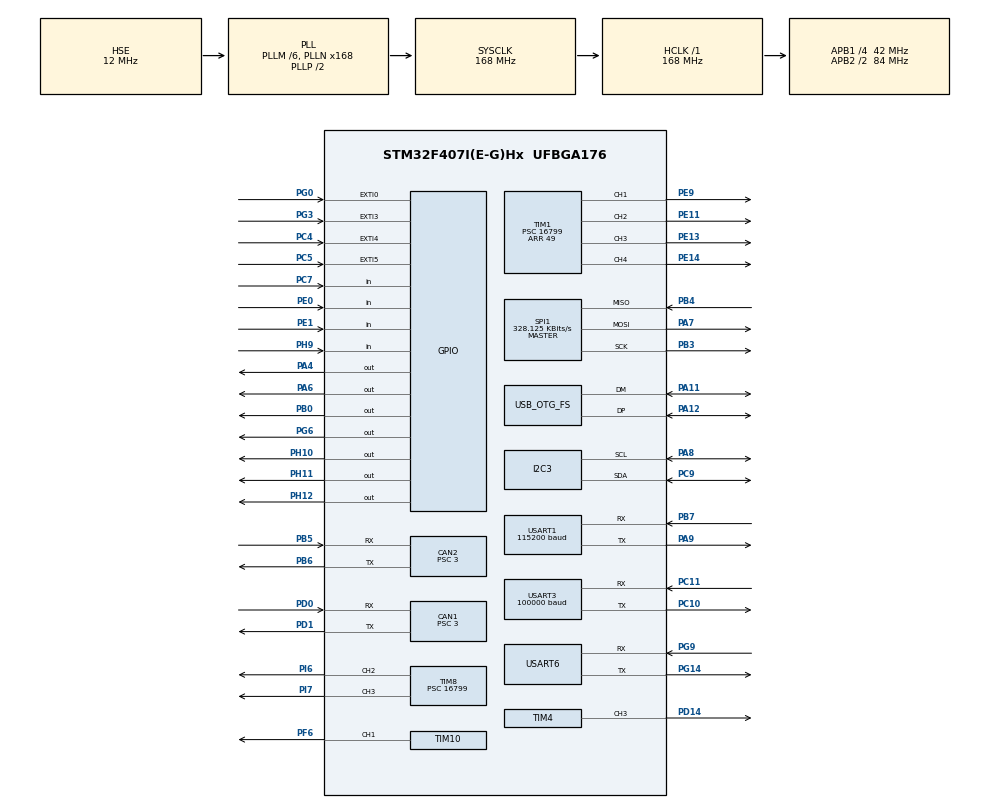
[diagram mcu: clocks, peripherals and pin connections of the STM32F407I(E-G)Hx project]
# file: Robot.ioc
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CAN1.BS1=CAN_BS1_10TQ
CAN1.BS2=CAN_BS2_3TQ
CAN1.CalculateBaudRate=1000000
CAN1.CalculateTimeBit=1000
CAN1.CalculateTimeQuantum=71.42857142857143
CAN1.Prescaler=3
CAN1.SJW=CAN_SJW_1TQ
CAN2.BS1=CAN_BS1_10TQ
CAN2.BS2=CAN_BS2_3TQ
CAN2.CalculateBaudRate=1000000
CAN2.CalculateTimeBit=1000
CAN2.CalculateTimeQuantum=71.42857142857143
CAN2.Prescaler=3
Dma.Request0=SPI1_RX
Dma.Request1=SPI1_TX
Dma.Request2=USART3_RX
Dma.Request3=USART6_RX
Dma.Request4=USART6_TX
Dma.Request5=USART1_TX
Dma.Request6=USART1_RX
Dma.SPI1_RX.0.Direction=DMA_PERIPH_TO_MEMORY
Dma.SPI1_RX.0.FIFOMode=DMA_FIFOMODE_DISABLE
Dma.SPI1_RX.0.Instance=DMA2_Stream2
Dma.SPI1_RX.0.MemDataAlignment=DMA_MDATAALIGN_BYTE
Dma.SPI1_RX.0.MemInc=DMA_MINC_ENABLE
Dma.SPI1_RX.0.Mode=DMA_NORMAL
Dma.SPI1_RX.0.PeriphDataAlignment=DMA_PDATAALIGN_BYTE
Dma.SPI1_RX.0.PeriphInc=DMA_PINC_DISABLE
Dma.SPI1_RX.0.Priority=DMA_PRIORITY_VERY_HIGH
Dma.SPI1_TX.1.Direction=DMA_MEMORY_TO_PERIPH
Dma.SPI1_TX.1.FIFOMode=DMA_FIFOMODE_DISABLE
Dma.SPI1_TX.1.Instance=DMA2_Stream3
Dma.SPI1_TX.1.MemDataAlignment=DMA_MDATAALIGN_BYTE
Dma.SPI1_TX.1.MemInc=DMA_MINC_ENABLE
Dma.SPI1_TX.1.Mode=DMA_NORMAL
Dma.SPI1_TX.1.PeriphDataAlignment=DMA_PDATAALIGN_BYTE
Dma.SPI1_TX.1.PeriphInc=DMA_PINC_DISABLE
Dma.SPI1_TX.1.Priority=DMA_PRIORITY_HIGH
Dma.USART1_RX.6.Direction=DMA_PERIPH_TO_MEMORY
Dma.USART1_RX.6.FIFOMode=DMA_FIFOMODE_DISABLE
Dma.USART1_RX.6.Instance=DMA2_Stream5
Dma.USART1_RX.6.MemDataAlignment=DMA_MDATAALIGN_BYTE
Dma.USART1_RX.6.MemInc=DMA_MINC_ENABLE
Dma.USART1_RX.6.Mode=DMA_NORMAL
Dma.USART1_RX.6.PeriphDataAlignment=DMA_PDATAALIGN_BYTE
Dma.USART1_RX.6.PeriphInc=DMA_PINC_DISABLE
Dma.USART1_RX.6.Priority=DMA_PRIORITY_HIGH
Dma.USART1_TX.5.Direction=DMA_MEMORY_TO_PERIPH
Dma.USART1_TX.5.FIFOMode=DMA_FIFOMODE_DISABLE
Dma.USART1_TX.5.Instance=DMA2_Stream7
Dma.USART1_TX.5.MemDataAlignment=DMA_MDATAALIGN_BYTE
Dma.USART1_TX.5.MemInc=DMA_MINC_ENABLE
Dma.USART1_TX.5.Mode=DMA_NORMAL
Dma.USART1_TX.5.PeriphDataAlignment=DMA_PDATAALIGN_BYTE
Dma.USART1_TX.5.PeriphInc=DMA_PINC_DISABLE
Dma.USART1_TX.5.Priority=DMA_PRIORITY_VERY_HIGH
Dma.USART3_RX.2.Direction=DMA_PERIPH_TO_MEMORY
Dma.USART3_RX.2.FIFOMode=DMA_FIFOMODE_DISABLE
Dma.USART3_RX.2.Instance=DMA1_Stream1
Dma.USART3_RX.2.MemDataAlignment=DMA_MDATAALIGN_BYTE
Dma.USART3_RX.2.MemInc=DMA_MINC_ENABLE
Dma.USART3_RX.2.Mode=DMA_NORMAL
Dma.USART3_RX.2.PeriphDataAlignment=DMA_PDATAALIGN_BYTE
Dma.USART3_RX.2.PeriphInc=DMA_PINC_DISABLE
Dma.USART3_RX.2.Priority=DMA_PRIORITY_LOW
Dma.USART6_RX.3.Direction=DMA_PERIPH_TO_MEMORY
Dma.USART6_RX.3.FIFOMode=DMA_FIFOMODE_DISABLE
Dma.USART6_RX.3.Instance=DMA2_Stream1
Dma.USART6_RX.3.MemDataAlignment=DMA_MDATAALIGN_BYTE
Dma.USART6_RX.3.MemInc=DMA_MINC_ENABLE
Dma.USART6_RX.3.Mode=DMA_NORMAL
Dma.USART6_RX.3.PeriphDataAlignment=DMA_PDATAALIGN_BYTE
Dma.USART6_RX.3.PeriphInc=DMA_PINC_DISABLE
Dma.USART6_RX.3.Priority=DMA_PRIORITY_HIGH
Dma.USART6_TX.4.Direction=DMA_MEMORY_TO_PERIPH
Dma.USART6_TX.4.FIFOMode=DMA_FIFOMODE_DISABLE
Dma.USART6_TX.4.Instance=DMA2_Stream6
Dma.USART6_TX.4.MemDataAlignment=DMA_MDATAALIGN_BYTE
Dma.USART6_TX.4.MemInc=DMA_MINC_ENABLE
Dma.USART6_TX.4.Mode=DMA_NORMAL
Dma.USART6_TX.4.PeriphDataAlignment=DMA_PDATAALIGN_BYTE
Dma.USART6_TX.4.PeriphInc=DMA_PINC_DISABLE
Dma.USART6_TX.4.Priority=DMA_PRIORITY_VERY_HIGH
FREERTOS.INCLUDE_eTaskGetState=1
FREERTOS.INCLUDE_pcTaskGetTaskName=1
FREERTOS.INCLUDE_uxTaskGetStackHighWaterMark=1
FREERTOS.INCLUDE_vTaskCleanUpResources=1
FREERTOS.INCLUDE_vTaskDelayUntil=1
FREERTOS.INCLUDE_xEventGroupSetBitFromISR=1
FREERTOS.INCLUDE_xQueueGetMutexHolder=1
FREERTOS.INCLUDE_xSemaphoreGetMutexHolder=1
FREERTOS.INCLUDE_xTaskAbortDelay=1
FREERTOS.INCLUDE_xTaskGetCurrentTaskHandle=1
FREERTOS.INCLUDE_xTaskGetHandle=1
FREERTOS.INCLUDE_xTimerPendFunctionCall=1
FREERTOS.Tasks01=INS_TASK,3,2560,INS_Task,As weak,NULL,Dynamic,NULL,NULL;LED_TASK,0,128,LED_Task,As weak,NULL,Dynamic,NULL,NULL;Chassis_TASK,1,512,Chassis_Task,As weak,NULL,Dynamic,NULL,NULL;Gimbal_TASK,2,512,Gimbal_Task,As weak,NULL,Dynamic,NULL,NULL;Shoot_TASK,0,512,Shoot_Task,As weak,NULL,Dynamic,NULL,NULL;referee_usart,1,256,referee_usart_task,As weak,NULL,Dynamic,NULL,NULL;Detect_Task,1,256,detect_task,As weak,NULL,Dynamic,NULL,NULL
FREERTOS.configTOTAL_HEAP_SIZE=24576
FREERTOS.configUSE_TIMERS=1
I2C3.I2C_Mode=I2C_Fast
Mcu.Family=STM32F4
Mcu.Name=STM32F407I(E-G)Hx
Mcu.Package=UFBGA176
NVIC.CAN1_RX0_IRQn=true\:5\:0\:false\:false\:true\:true\:true\:true\:true
NVIC.CAN1_TX_IRQn=true\:5\:0\:false\:false\:true\:true\:true\:true\:true
NVIC.CAN2_RX0_IRQn=true\:5\:0\:false\:false\:true\:true\:true\:true\:true
NVIC.DMA1_Stream1_IRQn=true\:5\:0\:false\:false\:true\:true\:false\:true\:true
NVIC.DMA2_Stream1_IRQn=true\:5\:0\:false\:false\:true\:true\:false\:true\:true
NVIC.DMA2_Stream2_IRQn=true\:5\:0\:false\:false\:true\:true\:false\:true\:true
NVIC.DMA2_Stream3_IRQn=true\:5\:0\:false\:false\:true\:true\:false\:true\:true
NVIC.DMA2_Stream5_IRQn=true\:5\:0\:false\:false\:true\:true\:false\:true\:true
NVIC.DMA2_Stream6_IRQn=true\:5\:0\:false\:false\:true\:true\:false\:true\:true
NVIC.DMA2_Stream7_IRQn=true\:5\:0\:false\:false\:true\:true\:false\:true\:true
NVIC.EXTI0_IRQn=true\:5\:0\:false\:false\:true\:true\:true\:true\:true
NVIC.EXTI3_IRQn=true\:5\:0\:false\:false\:true\:true\:true\:true\:true
NVIC.EXTI4_IRQn=true\:5\:0\:false\:false\:true\:true\:true\:true\:true
NVIC.EXTI9_5_IRQn=true\:5\:0\:false\:false\:true\:true\:true\:true\:true
NVIC.OTG_FS_IRQn=true\:5\:0\:false\:false\:true\:true\:false\:true\:true
NVIC.PriorityGroup=NVIC_PRIORITYGROUP_4
NVIC.TIM1_UP_TIM10_IRQn=true\:7\:0\:true\:false\:true\:true\:true\:true\:true
NVIC.TIM2_IRQn=true\:15\:0\:false\:false\:true\:false\:false\:true\:true
NVIC.TIM3_IRQn=true\:5\:0\:false\:false\:true\:true\:true\:true\:true
NVIC.TIM5_IRQn=true\:5\:0\:false\:false\:true\:true\:true\:true\:true
NVIC.TIM8_TRG_COM_TIM14_IRQn=true\:5\:0\:false\:false\:true\:true\:true\:true\:true
NVIC.TIM8_UP_TIM13_IRQn=true\:6\:0\:true\:false\:true\:true\:true\:true\:true
NVIC.TimeBase=TIM2_IRQn
NVIC.TimeBaseIP=TIM2
NVIC.USART1_IRQn=true\:5\:0\:false\:false\:true\:true\:true\:true\:true
NVIC.USART3_IRQn=true\:5\:0\:false\:false\:true\:true\:true\:true\:true
NVIC.USART6_IRQn=true\:5\:0\:false\:false\:true\:true\:true\:true\:true
PA11.Mode=Device_Only
PA11.Signal=USB_OTG_FS_DM
PA12.Mode=Device_Only
PA12.Signal=USB_OTG_FS_DP
PA13.Mode=Serial_Wire
PA13.Signal=SYS_JTMS-SWDIO
PA14.Mode=Serial_Wire
PA14.Signal=SYS_JTCK-SWCLK
PA4.GPIO_PuPd=GPIO_PULLUP
PA4.GPIO_Speed=GPIO_SPEED_FREQ_HIGH
PA4.PinState=GPIO_PIN_SET
PA4.Signal=GPIO_Output
PA6.GPIO_ModeDefaultOutputPP=GPIO_MODE_OUTPUT_OD
PA6.GPIO_PuPd=GPIO_NOPULL
PA6.Signal=GPIO_Output
PA7.GPIO_Mode=GPIO_MODE_AF_PP
PA7.GPIO_PuPd=GPIO_PULLUP
PA7.GPIO_Speed=GPIO_SPEED_FREQ_VERY_HIGH
PA7.Mode=Full_Duplex_Master
PA7.Signal=SPI1_MOSI
PA8.GPIO_Mode=GPIO_MODE_AF_OD
PA8.GPIO_Pu=GPIO_PULLUP
PA8.GPIO_Speed=GPIO_SPEED_FREQ_VERY_HIGH
PA8.Mode=I2C
PA8.Signal=I2C3_SCL
PA9.Mode=Asynchronous
PA9.Signal=USART1_TX
PB0.GPIO_ModeDefaultOutputPP=GPIO_MODE_OUTPUT_PP
PB0.GPIO_PuPd=GPIO_PULLUP
PB0.GPIO_Speed=GPIO_SPEED_FREQ_HIGH
PB0.PinState=GPIO_PIN_SET
PB0.Signal=GPIO_Output
PB14.GPIO_ModeDefaultPP=GPIO_MODE_AF_PP
PB14.GPIO_PuPd=GPIO_PULLUP
PB14.GPIO_Speed=GPIO_SPEED_FREQ_VERY_HIGH
PB14.Signal=S_TIM12_CH1
PB15.GPIO_ModeDefaultPP=GPIO_MODE_AF_PP
PB15.GPIO_PuPd=GPIO_PULLUP
PB15.GPIO_Speed=GPIO_SPEED_FREQ_VERY_HIGH
PB15.Signal=S_TIM12_CH2
PB3.GPIO_Mode=GPIO_MODE_AF_PP
PB3.GPIO_PuPd=GPIO_PULLUP
PB3.GPIO_Speed=GPIO_SPEED_FREQ_VERY_HIGH
PB3.Mode=Full_Duplex_Master
PB3.Signal=SPI1_SCK
PB4.GPIO_Mode=GPIO_MODE_AF_PP
PB4.GPIO_PuPd=GPIO_PULLUP
PB4.GPIO_Speed=GPIO_SPEED_FREQ_VERY_HIGH
PB4.Mode=Full_Duplex_Master
PB4.Signal=SPI1_MISO
PB5.Mode=CAN_Activate
PB5.Signal=CAN2_RX
PB6.Mode=CAN_Activate
PB6.Signal=CAN2_TX
PB7.Mode=Asynchronous
PB7.Signal=USART1_RX
PC10.GPIO_ModeDefaultPP=GPIO_MODE_AF_PP
PC10.GPIO_PuPd=GPIO_PULLUP
PC10.GPIO_Speed=GPIO_SPEED_FREQ_VERY_HIGH
PC10.Mode=Asynchronous
PC10.Signal=USART3_TX
PC11.GPIO_ModeDefaultPP=GPIO_MODE_AF_PP
PC11.GPIO_PuPd=GPIO_PULLUP
PC11.GPIO_Speed=GPIO_SPEED_FREQ_VERY_HIGH
PC11.Mode=Asynchronous
PC11.Signal=USART3_RX
PC4.GPIO_ModeDefaultEXTI=GPIO_MODE_IT_FALLING
PC4.GPIO_PuPd=GPIO_PULLUP
PC4.Signal=GPXTI4
PC5.GPIO_ModeDefaultEXTI=GPIO_MODE_IT_FALLING
PC5.GPIO_PuPd=GPIO_PULLUP
PC5.Signal=GPXTI5
PC7.GPIO_PuPd=GPIO_PULLDOWN
PC7.Signal=GPIO_Input
PC8.GPIO_ModeDefaultPP=GPIO_MODE_AF_PP
PC8.GPIO_PuPd=GPIO_PULLUP
PC8.GPIO_Speed=GPIO_SPEED_FREQ_VERY_HIGH
PC8.Signal=S_TIM3_CH3
PC9.GPIO_Mode=GPIO_MODE_AF_OD
PC9.GPIO_Pu=GPIO_PULLUP
PC9.GPIO_Speed=GPIO_SPEED_FREQ_VERY_HIGH
PC9.Mode=I2C
PC9.Signal=I2C3_SDA
PD0.Mode=CAN_Activate
PD0.Signal=CAN1_RX
PD1.Mode=CAN_Activate
PD1.Signal=CAN1_TX
PD14.GPIO_PuPd=GPIO_PULLUP
PD14.GPIO_Speed=GPIO_SPEED_FREQ_VERY_HIGH
PD14.Signal=S_TIM4_CH3
PE0.GPIO_PuPd=GPIO_PULLDOWN
PE0.Signal=GPIO_Input
PE1.GPIO_PuPd=GPIO_PULLDOWN
PE1.Signal=GPIO_Input
PE11.GPIO_ModeDefaultPP=GPIO_MODE_AF_PP
PE11.GPIO_PuPd=GPIO_PULLUP
PE11.GPIO_Speed=GPIO_SPEED_FREQ_VERY_HIGH
PE11.Signal=S_TIM1_CH2
PE13.GPIO_PuPd=GPIO_PULLUP
PE13.GPIO_Speed=GPIO_SPEED_FREQ_VERY_HIGH
PE13.Signal=S_TIM1_CH3
PE14.Signal=S_TIM1_CH4
PE9.GPIO_ModeDefaultPP=GPIO_MODE_AF_PP
PE9.GPIO_PuPd=GPIO_PULLUP
PE9.GPIO_Speed=GPIO_SPEED_FREQ_VERY_HIGH
PE9.Signal=S_TIM1_CH1
PF6.GPIO_PuPd=GPIO_PULLUP
PF6.GPIO_Speed=GPIO_SPEED_FREQ_VERY_HIGH
PF6.Signal=S_TIM10_CH1
PG0.GPIO_ModeDefaultEXTI=GPIO_MODE_IT_FALLING
PG0.GPIO_PuPd=GPIO_PULLUP
PG0.Signal=GPXTI0
PG14.GPIO_ModeDefaultPP=GPIO_MODE_AF_PP
PG14.GPIO_PuPd=GPIO_PULLUP
PG14.GPIO_Speed=GPIO_SPEED_FREQ_VERY_HIGH
PG14.Mode=Asynchronous
PG14.Signal=USART6_TX
PG3.GPIO_ModeDefaultEXTI=GPIO_MODE_IT_FALLING
PG3.GPIO_PuPd=GPIO_PULLUP
PG3.Signal=GPXTI3
PG6.GPIO_ModeDefaultOutputPP=GPIO_MODE_OUTPUT_PP
PG6.GPIO_PuPd=GPIO_PULLUP
PG6.GPIO_Speed=GPIO_SPEED_FREQ_HIGH
PG6.PinState=GPIO_PIN_SET
PG6.Signal=GPIO_Output
PG9.GPIO_ModeDefaultPP=GPIO_MODE_AF_PP
PG9.GPIO_PuPd=GPIO_PULLUP
PG9.GPIO_Speed=GPIO_SPEED_FREQ_VERY_HIGH
PG9.Mode=Asynchronous
PG9.Signal=USART6_RX
PH0-OSC_IN.Mode=HSE-External-Oscillator
PH0-OSC_IN.Signal=RCC_OSC_IN
PH1-OSC_OUT.Mode=HSE-External-Oscillator
PH1-OSC_OUT.Signal=RCC_OSC_OUT
PH10.GPIO_ModeDefaultOutputPP=GPIO_MODE_OUTPUT_PP
PH10.GPIO_PuPd=GPIO_PULLDOWN
PH10.GPIO_Speed=GPIO_SPEED_FREQ_VERY_HIGH
PH10.PinState=GPIO_PIN_RESET
PH10.Signal=GPIO_Output
PH11.GPIO_ModeDefaultOutputPP=GPIO_MODE_OUTPUT_PP
PH11.GPIO_PuPd=GPIO_PULLDOWN
PH11.GPIO_Speed=GPIO_SPEED_FREQ_VERY_HIGH
PH11.PinState=GPIO_PIN_RESET
PH11.Signal=GPIO_Output
PH12.GPIO_ModeDefaultOutputPP=GPIO_MODE_OUTPUT_PP
PH12.GPIO_PuPd=GPIO_PULLDOWN
PH12.GPIO_Speed=GPIO_SPEED_FREQ_VERY_HIGH
PH12.PinState=GPIO_PIN_RESET
PH12.Signal=GPIO_Output
PH9.GPIO_PuPd=GPIO_PULLDOWN
PH9.Signal=GPIO_Input
PI6.Signal=S_TIM8_CH2
PI7.Signal=S_TIM8_CH3
ProjectManager.HeapSize=0x2000
ProjectManager.StackSize=0x2000
ProjectManager.TargetToolchain=MDK-ARM V5
RCC.48MHZClocksFreq_Value=48000000
RCC.AHBFreq_Value=168000000
RCC.APB1CLKDivider=RCC_HCLK_DIV4
RCC.APB1Freq_Value=42000000
RCC.APB1TimFreq_Value=84000000
RCC.APB2CLKDivider=RCC_HCLK_DIV2
RCC.APB2Freq_Value=84000000
RCC.APB2TimFreq_Value=168000000
RCC.CortexFreq_Value=168000000
RCC.HCLKFreq_Value=168000000
RCC.HSE_VALUE=12000000
RCC.HSI_VALUE=16000000
RCC.LSE_VALUE=32768
RCC.PLLM=6
RCC.PLLN=168
RCC.PLLQ=7
RCC.SYSCLKFreq_VALUE=168000000
RCC.SYSCLKSource=RCC_SYSCLKSOURCE_PLLCLK
RCC.VCOOutputFreq_Value=336000000
SH.S_TIM10_CH1.0=TIM10_CH1,PWM Generation1 CH1
SH.S_TIM12_CH1.0=TIM12_CH1
SH.S_TIM12_CH2.0=TIM12_CH2
SH.S_TIM1_CH1.0=TIM1_CH1,PWM Generation1 CH1
SH.S_TIM1_CH2.0=TIM1_CH2,PWM Generation2 CH2
SH.S_TIM1_CH3.0=TIM1_CH3,PWM Generation3 CH3
SH.S_TIM1_CH4.0=TIM1_CH4,PWM Generation4 CH4
SH.S_TIM3_CH3.0=TIM3_CH3
SH.S_TIM4_CH3.0=TIM4_CH3,PWM Generation3 CH3
SH.S_TIM8_CH2.0=TIM8_CH2,PWM Generation2 CH2
SH.S_TIM8_CH3.0=TIM8_CH3,PWM Generation3 CH3
SPI1.BaudRatePrescaler=SPI_BAUDRATEPRESCALER_256
SPI1.CLKPhase=SPI_PHASE_2EDGE
SPI1.CLKPolarity=SPI_POLARITY_HIGH
SPI1.CalculateBaudRate=328.125 KBits/s
SPI1.Direction=SPI_DIRECTION_2LINES
SPI1.Mode=SPI_MODE_MASTER
SPI1.VirtualType=VM_MASTER
TIM1.AutoReloadPreload=TIM_AUTORELOAD_PRELOAD_DISABLE
TIM1.Channel-PWM\ Generation1\ CH1=TIM_CHANNEL_1
TIM1.Channel-PWM\ Generation2\ CH2=TIM_CHANNEL_2
TIM1.Channel-PWM\ Generation3\ CH3=TIM_CHANNEL_3
TIM1.Channel-PWM\ Generation4\ CH4=TIM_CHANNEL_4
TIM1.Period=49
TIM1.Prescaler=16799
TIM10.Channel=TIM_CHANNEL_1
TIM10.Period=4999
TIM3.Period=99
TIM3.Prescaler=8399
TIM4.Channel-PWM\ Generation3\ CH3=TIM_CHANNEL_3
TIM4.Period=20999
TIM5.Period=19
TIM5.Prescaler=8399
TIM8.Channel-PWM\ Generation2\ CH2=TIM_CHANNEL_2
TIM8.Channel-PWM\ Generation3\ CH3=TIM_CHANNEL_3
TIM8.Period=499
TIM8.Prescaler=16799
USART1.BaudRate=115200
USART1.VirtualMode=VM_ASYNC
USART3.BaudRate=100000
USART3.VirtualMode=VM_ASYNC
USART6.VirtualMode=VM_ASYNC
USB_DEVICE.CLASS_NAME_FS=CDC
USB_DEVICE.VirtualMode-CDC_FS=Cdc
USB_DEVICE.VirtualModeFS=Cdc_FS
USB_OTG_FS.VirtualMode=Device_Only
VP_CRC_VS_CRC.Mode=CRC_Activate
VP_FREERTOS_VS_CMSIS_V1.Mode=CMSIS_V1
VP_SYS_VS_tim2.Mode=TIM2
VP_TIM10_VS_ClockSourceINT.Mode=Enable_Timer
VP_TIM1_VS_ClockSourceINT.Mode=Internal
VP_TIM3_VS_ClockSourceINT.Mode=Internal
VP_TIM4_VS_ClockSourceINT.Mode=Internal
VP_TIM5_VS_ClockSourceINT.Mode=Internal
VP_TIM8_VS_ClockSourceINT.Mode=Internal
VP_USB_DEVICE_VS_USB_DEVICE_CDC_FS.Mode=CDC_FS
board=custom

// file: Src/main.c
/* USER CODE BEGIN Header */
/**
 ******************************************************************************
 * @file           : main.c
 * @brief          : Main program body
 ******************************************************************************
 * @attention
 *
 * <h2><center>&copy; Copyright (c) 2021 STMicroelectronics.
 * All rights reserved.</center></h2>
 *
 * This software component is licensed by ST under Ultimate Liberty license
 * SLA0044, the "License"; You may not use this file except in compliance with
 * the License. You may obtain a copy of the License at:
 *                             www.st.com/SLA0044
 *
 ******************************************************************************
 */
/* USER CODE END Header */
#include "main.h"
#include "cmsis_os.h"
#include "can.h"
#include "crc.h"
#include "dma.h"
#include "i2c.h"
#include "spi.h"
#include "tim.h"
#include "usart.h"
#include "usb_device.h"
#include "gpio.h"

/* USER CODE BEGIN Includes */
#include "bsp_delay.h"
#include "remote_control.h"
#include "bsp_can.h"
#include "bsp_tim.h"
#include "bsp_buzzer.h"
#include "referee.h"
#include "referee_usart_task.h"
/* USER CODE END Includes */

void SystemClock_Config(void);
void MX_FREERTOS_Init(void);

int main(void)
{

  /* MCU Configuration--------------------------------------------------------*/

  /* Reset of all peripherals, Initializes the Flash interface and the Systick. */
  HAL_Init();

  /* Configure the system clock */
  SystemClock_Config();

  /* Initialize all configured peripherals */
  MX_GPIO_Init();
  MX_DMA_Init();
  MX_I2C3_Init();
  MX_SPI1_Init();
  MX_TIM10_Init();
  MX_USART3_UART_Init();
  MX_CAN1_Init();
  MX_CAN2_Init();
  MX_TIM3_Init();
  MX_USART6_UART_Init();
  MX_USART1_UART_Init();
  MX_TIM1_Init();
  MX_CRC_Init();
  MX_TIM8_Init();
  MX_TIM4_Init();
  MX_TIM5_Init();
  /* USER CODE BEGIN 2 */
  MX_USB_DEVICE_Init();
  HAL_TIM_Base_Start_IT(&htim1);             // 开启tim1中断，用于向上位机定时发送陀螺仪数据
  HAL_TIM_Base_Start_IT(&htim8);             // 开启tim8中断，用于向上位机定时发送裁判系统数据
  HAL_TIM_PWM_Start(&htim10, TIM_CHANNEL_1); // 用于对陀螺仪进行恒温处理
  HAL_TIM_PWM_Start(&htim4, TIM_CHANNEL_3);  // 蜂鸣器pwm
  buzzer_play_eva();
  HAL_TIM_PWM_Stop(&htim4, TIM_CHANNEL_3); // 用完蜂鸣器就关掉省资源
  /***************CAN初始化*****************/
  Create_Can_Send_Queues(); // 创建can重发队列，需要保证在开启tim3溢出中断之前调用，不然tim3中断回调函数调用队列会发送错误
  Can_Filter_Init();
  Can_Buffer_Init();
  /*****************************************/
  delay_init();
  remote_control_init();
  fifo_s_init(&Referee_FIFO, Referee_FIFO_Buffer, REFEREE_FIFO_BUF_LENGTH);
  Referee_StructInit();
  Referee_UARTInit(Referee_Buffer[0], Referee_Buffer[1], REFEREE_USART_RX_BUF_LENGHT);

  /* USER CODE END 2 */

  /* Call init function for freertos objects (in cmsis_os2.c) */
  MX_FREERTOS_Init();

  /* Start scheduler */
  osKernelStart();

  /* We should never get here as control is now taken by the scheduler */

  /* Infinite loop */
  while (1)
  {

  }
}

void SystemClock_Config(void)
{
  RCC_OscInitTypeDef RCC_OscInitStruct = {0};
  RCC_ClkInitTypeDef RCC_ClkInitStruct = {0};

  /** Configure the main internal regulator output voltage
   */
  __HAL_RCC_PWR_CLK_ENABLE();
  __HAL_PWR_VOLTAGESCALING_CONFIG(PWR_REGULATOR_VOLTAGE_SCALE1);

  /** Initializes the RCC Oscillators according to the specified parameters
   * in the RCC_OscInitTypeDef structure.
   */
  RCC_OscInitStruct.OscillatorType = RCC_OSCILLATORTYPE_HSE;
  RCC_OscInitStruct.HSEState = RCC_HSE_ON;
  RCC_OscInitStruct.PLL.PLLState = RCC_PLL_ON;
  RCC_OscInitStruct.PLL.PLLSource = RCC_PLLSOURCE_HSE;
  RCC_OscInitStruct.PLL.PLLM = 6;
  RCC_OscInitStruct.PLL.PLLN = 168;
  RCC_OscInitStruct.PLL.PLLP = RCC_PLLP_DIV2;
  RCC_OscInitStruct.PLL.PLLQ = 7;
  if (HAL_RCC_OscConfig(&RCC_OscInitStruct) != HAL_OK)
  {
    Error_Handler();
  }

  /** Initializes the CPU, AHB and APB buses clocks
   */
  RCC_ClkInitStruct.ClockType = RCC_CLOCKTYPE_HCLK | RCC_CLOCKTYPE_SYSCLK | RCC_CLOCKTYPE_PCLK1 | RCC_CLOCKTYPE_PCLK2;
  RCC_ClkInitStruct.SYSCLKSource = RCC_SYSCLKSOURCE_PLLCLK;
  RCC_ClkInitStruct.AHBCLKDivider = RCC_SYSCLK_DIV1;
  RCC_ClkInitStruct.APB1CLKDivider = RCC_HCLK_DIV4;
  RCC_ClkInitStruct.APB2CLKDivider = RCC_HCLK_DIV2;

  if (HAL_RCC_ClockConfig(&RCC_ClkInitStruct, FLASH_LATENCY_5) != HAL_OK)
  {
    Error_Handler();
  }
}

void HAL_TIM_PeriodElapsedCallback(TIM_HandleTypeDef *htim)
{
  if (htim->Instance == TIM2)
  {
    HAL_IncTick();
  }
}

void Error_Handler(void)
{
  __disable_irq();
  while (1)
  {
  }
}

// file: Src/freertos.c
/* USER CODE BEGIN Header */
/**
 ******************************************************************************
 * File Name          : freertos.c
 * Description        : Code for freertos applications
 ******************************************************************************
 * @attention
 *
 * <h2><center>&copy; Copyright (c) 2021 STMicroelectronics.
 * All rights reserved.</center></h2>
 *
 * This software component is licensed by ST under Ultimate Liberty license
 * SLA0044, the "License"; You may not use this file except in compliance with
 * the License. You may obtain a copy of the License at:
 *                             www.st.com/SLA0044
 *
 ******************************************************************************
 */
/* USER CODE END Header */

#include "FreeRTOS.h"
#include "task.h"
#include "main.h"
#include "cmsis_os.h"

/* USER CODE BEGIN Includes */
#include "INS_task.h"
#include "LED_Task.h"
#include "Chassis_Task.h"
#include "Gimbal_Task.h"
#include "Shoot_Task.h"
#include "Switch_Task.h"
/* USER CODE END Includes */

osThreadId INS_TASKHandle;
osThreadId LED_TASKHandle;
osThreadId Chassis_TASKHandle;
osThreadId Gimbal_TASKHandle;
osThreadId Shoot_TASKHandle;
osThreadId referee_usartHandle;
osThreadId Detect_TaskHandle;

void INS_Task(void const * argument);
void LED_Task(void const * argument);
void Chassis_Task(void const * argument);
void Gimbal_Task(void const * argument);
void Shoot_Task(void const * argument);
void referee_usart_task(void const * argument);
void detect_task(void const * argument);

extern void MX_USB_DEVICE_Init(void);
void MX_FREERTOS_Init(void); /* (MISRA C 2004 rule 8.1) */

/* GetIdleTaskMemory prototype (linked to static allocation support) */
void vApplicationGetIdleTaskMemory( StaticTask_t **ppxIdleTaskTCBBuffer, StackType_t **ppxIdleTaskStackBuffer, uint32_t *pulIdleTaskStackSize );

/* GetTimerTaskMemory prototype (linked to static allocation support) */
void vApplicationGetTimerTaskMemory( StaticTask_t **ppxTimerTaskTCBBuffer, StackType_t **ppxTimerTaskStackBuffer, uint32_t *pulTimerTaskStackSize );

/* USER CODE BEGIN GET_IDLE_TASK_MEMORY */
static StaticTask_t xIdleTaskTCBBuffer;
static StackType_t xIdleStack[configMINIMAL_STACK_SIZE];

void vApplicationGetIdleTaskMemory(StaticTask_t **ppxIdleTaskTCBBuffer, StackType_t **ppxIdleTaskStackBuffer, uint32_t *pulIdleTaskStackSize)
{
  *ppxIdleTaskTCBBuffer = &xIdleTaskTCBBuffer;
  *ppxIdleTaskStackBuffer = &xIdleStack[0];
  *pulIdleTaskStackSize = configMINIMAL_STACK_SIZE;
  /* place for user code */
}
/* USER CODE END GET_IDLE_TASK_MEMORY */

/* USER CODE BEGIN GET_TIMER_TASK_MEMORY */
static StaticTask_t xTimerTaskTCBBuffer;
static StackType_t xTimerStack[configTIMER_TASK_STACK_DEPTH];

void vApplicationGetTimerTaskMemory(StaticTask_t **ppxTimerTaskTCBBuffer, StackType_t **ppxTimerTaskStackBuffer, uint32_t *pulTimerTaskStackSize)
{
  *ppxTimerTaskTCBBuffer = &xTimerTaskTCBBuffer;
  *ppxTimerTaskStackBuffer = &xTimerStack[0];
  *pulTimerTaskStackSize = configTIMER_TASK_STACK_DEPTH;
  /* place for user code */
}
/* USER CODE END GET_TIMER_TASK_MEMORY */

void MX_FREERTOS_Init(void) {

  /* Create the thread(s) */
  /* definition and creation of INS_TASK */
  osThreadDef(INS_TASK, INS_Task, osPriorityRealtime, 0, 2560);
  INS_TASKHandle = osThreadCreate(osThread(INS_TASK), NULL);

  /* definition and creation of LED_TASK */
  osThreadDef(LED_TASK, LED_Task, osPriorityNormal, 0, 128);
  LED_TASKHandle = osThreadCreate(osThread(LED_TASK), NULL);

  /* definition and creation of Chassis_TASK */
  osThreadDef(Chassis_TASK, Chassis_Task, osPriorityAboveNormal, 0, 512);
  Chassis_TASKHandle = osThreadCreate(osThread(Chassis_TASK), NULL);

  /* definition and creation of Gimbal_TASK */
  osThreadDef(Gimbal_TASK, Gimbal_Task, osPriorityHigh, 0, 512);
  Gimbal_TASKHandle = osThreadCreate(osThread(Gimbal_TASK), NULL);

  /* definition and creation of Shoot_TASK */
  osThreadDef(Shoot_TASK, Shoot_Task, osPriorityNormal, 0, 512);
  Shoot_TASKHandle = osThreadCreate(osThread(Shoot_TASK), NULL);

  /* definition and creation of referee_usart */
  osThreadDef(referee_usart, referee_usart_task, osPriorityAboveNormal, 0, 256);
  referee_usartHandle = osThreadCreate(osThread(referee_usart), NULL);

  /* definition and creation of Detect_Task */
  osThreadDef(Detect_Task, detect_task, osPriorityAboveNormal, 0, 256);
  Detect_TaskHandle = osThreadCreate(osThread(Detect_Task), NULL);

}

__weak void INS_Task(void const * argument)
{
  /* init code for USB_DEVICE */
  MX_USB_DEVICE_Init();
  for (;;)
  {
    osDelay(1);
  }
}

__weak void LED_Task(void const * argument)
{
  /* USER CODE BEGIN LED_Task */
  /* Infinite loop */
  for (;;)
  {
    vTaskDelay(2);
  }
  /* USER CODE END LED_Task */
}

__weak void Chassis_Task(void const * argument)
{
  for (;;)
  {
    osDelay(1);
  }
}

__weak void Gimbal_Task(void const * argument)
{
  for (;;)
  {
    osDelay(1);
  }
}

__weak void Shoot_Task(void const * argument)
{
  for (;;)
  {
    osDelay(1);
  }
}

__weak void referee_usart_task(void const * argument)
{
  for (;;)
  {
    osDelay(1);
  }
}

__weak void detect_task(void const * argument)
{
  for (;;)
  {
    osDelay(1);
  }
}
